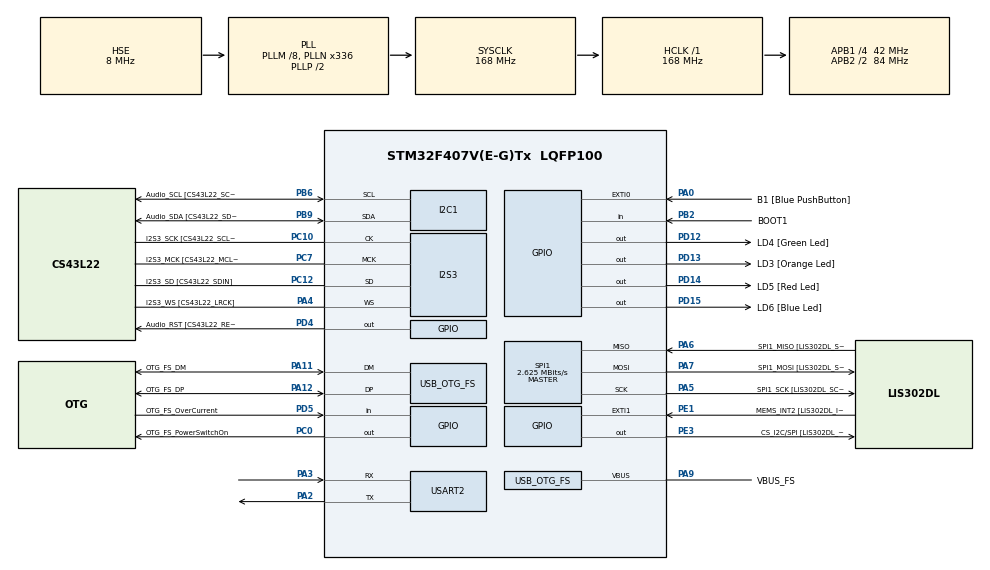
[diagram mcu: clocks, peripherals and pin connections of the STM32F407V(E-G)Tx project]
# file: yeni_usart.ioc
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I2S3.AudioFreq-Half_Duplex_Master=I2S_AUDIOFREQ_96K
I2S3.ErrorAudioFreq=-2.34 %
I2S3.ErrorAudioFreq-Half_Duplex_Master=0.8 %
I2S3.FullDuplexMode=I2S_FULLDUPLEXMODE_DISABLE
I2S3.Instance=SPI$Index
I2S3.RealAudioFreq=93.75 KHz
I2S3.RealAudioFreq-Half_Duplex_Master=96.774 KHz
I2S3.VirtualMode=I2S_MODE_MASTER
Mcu.Family=STM32F4
Mcu.Name=STM32F407V(E-G)Tx
Mcu.Package=LQFP100
NVIC.OTG_FS_IRQn=true\:0\:0\:false\:false\:true\:true\:true\:true
NVIC.PriorityGroup=NVIC_PRIORITYGROUP_0
NVIC.USART2_IRQn=true\:0\:0\:false\:false\:true\:true\:true\:true
PA0-WKUP.GPIO_Label=B1 [Blue PushButton]
PA0-WKUP.GPIO_ModeDefaultEXTI=GPIO_MODE_EVT_RISING
PA0-WKUP.GPIO_PuPd=GPIO_NOPULL
PA0-WKUP.Signal=GPXTI0
PA10.GPIO_Label=OTG_FS_ID
PA10.GPIO_Mode=GPIO_MODE_AF_PP
PA10.GPIO_PuPd=GPIO_NOPULL
PA10.GPIO_Speed=GPIO_SPEED_FREQ_LOW
PA10.Signal=USB_OTG_FS_ID
PA11.GPIO_Label=OTG_FS_DM
PA11.GPIO_Mode=GPIO_MODE_AF_PP
PA11.GPIO_PuPd=GPIO_NOPULL
PA11.GPIO_Speed=GPIO_SPEED_FREQ_LOW
PA11.Mode=Host_Only
PA11.Signal=USB_OTG_FS_DM
PA12.GPIO_Label=OTG_FS_DP
PA12.GPIO_Mode=GPIO_MODE_AF_PP
PA12.GPIO_PuPd=GPIO_NOPULL
PA12.GPIO_Speed=GPIO_SPEED_FREQ_LOW
PA12.Mode=Host_Only
PA12.Signal=USB_OTG_FS_DP
PA13.GPIO_Label=SWDIO
PA13.Mode=Serial_Wire
PA13.Signal=SYS_JTMS-SWDIO
PA14.GPIO_Label=SWCLK
PA14.Mode=Serial_Wire
PA14.Signal=SYS_JTCK-SWCLK
PA2.Mode=Asynchronous
PA2.Signal=USART2_TX
PA3.Mode=Asynchronous
PA3.Signal=USART2_RX
PA4.GPIO_Label=I2S3_WS [CS43L22_LRCK]
PA4.GPIO_Mode=GPIO_MODE_AF_PP
PA4.GPIO_PuPd=GPIO_NOPULL
PA4.GPIO_Speed=GPIO_SPEED_FREQ_LOW
PA4.Mode=Half_Duplex_Master
PA4.Signal=I2S3_WS
PA5.GPIO_Label=SPI1_SCK [LIS302DL_SCL/SPC]
PA5.GPIO_Mode=GPIO_MODE_AF_PP
PA5.GPIO_PuPd=GPIO_NOPULL
PA5.GPIO_Speed=GPIO_SPEED_FREQ_LOW
PA5.Mode=Full_Duplex_Master
PA5.Signal=SPI1_SCK
PA6.GPIO_Label=SPI1_MISO [LIS302DL_SDO]
PA6.GPIO_Mode=GPIO_MODE_AF_PP
PA6.GPIO_PuPd=GPIO_NOPULL
PA6.GPIO_Speed=GPIO_SPEED_FREQ_LOW
PA6.Mode=Full_Duplex_Master
PA6.Signal=SPI1_MISO
PA7.GPIO_Label=SPI1_MOSI [LIS302DL_SDA/SDI/SDO]
PA7.GPIO_Mode=GPIO_MODE_AF_PP
PA7.GPIO_PuPd=GPIO_NOPULL
PA7.GPIO_Speed=GPIO_SPEED_FREQ_LOW
PA7.Mode=Full_Duplex_Master
PA7.Signal=SPI1_MOSI
PA9.GPIO_Label=VBUS_FS
PA9.GPIO_Mode=GPIO_MODE_INPUT
PA9.GPIO_PuPd=GPIO_NOPULL
PA9.Mode=Activate_VBUS
PA9.Signal=USB_OTG_FS_VBUS
PB10.GPIO_Label=CLK_IN [MP45DT02_CLK]
PB10.GPIO_Mode=GPIO_MODE_AF_PP
PB10.GPIO_PuPd=GPIO_NOPULL
PB10.GPIO_Speed=GPIO_SPEED_FREQ_LOW
PB10.Signal=I2S2_CK
PB2.GPIO_Label=BOOT1
PB2.GPIO_Mode=GPIO_MODE_INPUT
PB2.GPIO_PuPd=GPIO_NOPULL
PB2.Signal=GPIO_Input
PB3.GPIO_Label=SWO
PB3.Signal=SYS_JTDO-SWO
PB6.GPIO_Label=Audio_SCL [CS43L22_SCL]
PB6.GPIO_Mode=GPIO_MODE_AF_OD
PB6.GPIO_Pu=GPIO_PULLUP
PB6.GPIO_PuPd=GPIO_NOPULL
PB6.GPIO_Speed=GPIO_SPEED_FREQ_LOW
PB6.Mode=I2C
PB6.Signal=I2C1_SCL
PB9.GPIO_Label=Audio_SDA [CS43L22_SDA]
PB9.GPIO_Mode=GPIO_MODE_AF_OD
PB9.GPIO_Pu=GPIO_PULLUP
PB9.GPIO_PuPd=GPIO_NOPULL
PB9.GPIO_Speed=GPIO_SPEED_FREQ_LOW
PB9.Mode=I2C
PB9.Signal=I2C1_SDA
PC0.GPIO_Label=OTG_FS_PowerSwitchOn
PC0.GPIO_PuPd=GPIO_NOPULL
PC0.GPIO_Speed=GPIO_SPEED_FREQ_LOW
PC0.PinState=GPIO_PIN_SET
PC0.Signal=GPIO_Output
PC10.GPIO_Label=I2S3_SCK [CS43L22_SCLK]
PC10.GPIO_Mode=GPIO_MODE_AF_PP
PC10.GPIO_PuPd=GPIO_NOPULL
PC10.GPIO_Speed=GPIO_SPEED_FREQ_LOW
PC10.Mode=Half_Duplex_Master
PC10.Signal=I2S3_CK
PC12.GPIO_Label=I2S3_SD [CS43L22_SDIN]
PC12.GPIO_Mode=GPIO_MODE_AF_PP
PC12.GPIO_PuPd=GPIO_NOPULL
PC12.GPIO_Speed=GPIO_SPEED_FREQ_LOW
PC12.Mode=Half_Duplex_Master
PC12.Signal=I2S3_SD
PC14-OSC32_IN.GPIO_Label=PC14-OSC32_IN
PC14-OSC32_IN.Mode=LSE-External-Oscillator
PC14-OSC32_IN.Signal=RCC_OSC32_IN
PC15-OSC32_OUT.GPIO_Label=PC15-OSC32_OUT
PC15-OSC32_OUT.Mode=LSE-External-Oscillator
PC15-OSC32_OUT.Signal=RCC_OSC32_OUT
PC3.GPIO_Label=PDM_OUT [MP45DT02_DOUT]
PC3.GPIO_Mode=GPIO_MODE_AF_PP
PC3.GPIO_PuPd=GPIO_NOPULL
PC3.GPIO_Speed=GPIO_SPEED_FREQ_LOW
PC3.Signal=I2S2_SD
PC7.GPIO_Label=I2S3_MCK [CS43L22_MCLK]
PC7.GPIO_Mode=GPIO_MODE_AF_PP
PC7.GPIO_PuPd=GPIO_NOPULL
PC7.GPIO_Speed=GPIO_SPEED_FREQ_LOW
PC7.Mode=Master_Clock_Activated
PC7.Signal=I2S3_MCK
PD12.GPIO_Label=LD4 [Green Led]
PD12.GPIO_PuPd=GPIO_NOPULL
PD12.GPIO_Speed=GPIO_SPEED_FREQ_LOW
PD12.Signal=GPIO_Output
PD13.GPIO_Label=LD3 [Orange Led]
PD13.GPIO_PuPd=GPIO_NOPULL
PD13.GPIO_Speed=GPIO_SPEED_FREQ_LOW
PD13.Signal=GPIO_Output
PD14.GPIO_Label=LD5 [Red Led]
PD14.GPIO_PuPd=GPIO_NOPULL
PD14.GPIO_Speed=GPIO_SPEED_FREQ_LOW
PD14.Signal=GPIO_Output
PD15.GPIO_Label=LD6 [Blue Led]
PD15.GPIO_PuPd=GPIO_NOPULL
PD15.GPIO_Speed=GPIO_SPEED_FREQ_LOW
PD15.Signal=GPIO_Output
PD4.GPIO_Label=Audio_RST [CS43L22_RESET]
PD4.GPIO_PuPd=GPIO_NOPULL
PD4.GPIO_Speed=GPIO_SPEED_FREQ_LOW
PD4.Signal=GPIO_Output
PD5.GPIO_Label=OTG_FS_OverCurrent
PD5.GPIO_Mode=GPIO_MODE_INPUT
PD5.GPIO_PuPd=GPIO_NOPULL
PD5.Signal=GPIO_Input
PE1.GPIO_Label=MEMS_INT2 [LIS302DL_INT2]
PE1.GPIO_ModeDefaultEXTI=GPIO_MODE_EVT_RISING
PE1.GPIO_PuPd=GPIO_NOPULL
PE1.Signal=GPXTI1
PE3.GPIO_Label=CS_I2C/SPI [LIS302DL_CS_I2C/SPI]
PE3.GPIO_PuPd=GPIO_NOPULL
PE3.GPIO_Speed=GPIO_SPEED_FREQ_LOW
PE3.Signal=GPIO_Output
PH0-OSC_IN.GPIO_Label=PH0-OSC_IN
PH0-OSC_IN.Mode=HSE-External-Oscillator
PH0-OSC_IN.Signal=RCC_OSC_IN
PH1-OSC_OUT.GPIO_Label=PH1-OSC_OUT
PH1-OSC_OUT.Mode=HSE-External-Oscillator
PH1-OSC_OUT.Signal=RCC_OSC_OUT
ProjectManager.HeapSize=0x200
ProjectManager.StackSize=0x400
ProjectManager.TargetToolchain=STM32CubeIDE
RCC.48MHZClocksFreq_Value=48000000
RCC.AHBFreq_Value=168000000
RCC.APB1CLKDivider=RCC_HCLK_DIV4
RCC.APB1Freq_Value=42000000
RCC.APB1TimFreq_Value=84000000
RCC.APB2CLKDivider=RCC_HCLK_DIV2
RCC.APB2Freq_Value=84000000
RCC.APB2TimFreq_Value=168000000
RCC.CortexFreq_Value=168000000
RCC.HCLKFreq_Value=168000000
RCC.HSE_VALUE=8000000
RCC.HSI_VALUE=16000000
RCC.PLLM=8
RCC.PLLN=336
RCC.PLLQ=7
RCC.SYSCLKFreq_VALUE=168000000
RCC.SYSCLKSource=RCC_SYSCLKSOURCE_PLLCLK
RCC.VCOOutputFreq_Value=336000000
SPI1.BaudRatePrescaler=SPI_BAUDRATEPRESCALER_32
SPI1.BaudRatePrescaler-Full_Duplex_Master=SPI_BAUDRATEPRESCALER_2
SPI1.CalculateBaudRate=2.625 MBits/s
SPI1.CalculateBaudRate-Full_Duplex_Master=42.0 MBits/s
SPI1.Direction=SPI_DIRECTION_2LINES
SPI1.Mode=SPI_MODE_MASTER
SPI1.Mode-Full_Duplex_Master=SPI_MODE_MASTER
SPI1.VirtualType=VM_MASTER
USART2.VirtualMode=VM_ASYNC
USB_HOST.BSP.number=1
USB_HOST.USBH_HandleTypeDef-CDC_FS=hUsbHostFS
USB_HOST.VirtualModeFS=Cdc
USB_HOST0.BSP.STBoard=false
USB_HOST0.BSP.api=Unknown
USB_HOST0.BSP.instance=PC0
USB_HOST0.BSP.ip=GPIO
USB_HOST0.BSP.mode=Output
USB_HOST0.BSP.name=Drive_VBUS_FS
USB_HOST0.BSP.solution=PC0
USB_OTG_FS.VirtualMode=Host_Only
USB_OTG_FS.phy_itface=HCD_PHY_EMBEDDED
VP_USB_HOST_VS_USB_HOST_CDC_FS.Mode=CDC_FS
board=STM32F407G-DISC1

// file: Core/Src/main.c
/* USER CODE BEGIN Header */
/**
  ******************************************************************************
  * @file           : main.c
  * @brief          : Main program body
  ******************************************************************************
  * @attention
  *
  * Copyright (c) 2026 STMicroelectronics.
  * All rights reserved.
  *
  * This software is licensed under terms that can be found in the LICENSE file
  * in the root directory of this software component.
  * If no LICENSE file comes with this software, it is provided AS-IS.
  *
  ******************************************************************************
  */
/* USER CODE END Header */
#include "main.h"
#include "usb_host.h"

/* USER CODE BEGIN Includes */
#include "stdio.h"
#include "string.h"
#include "math.h"
#include "stdlib.h"

#include "arm_math.h"
#include "arm_math_types.h"
#include "dsp/transform_functions.h"
/* USER CODE END Includes */

/* USER CODE BEGIN PD */
#define LIS302DL_CS_PORT GPIOE
#define LIS302DL_CS_PIN  GPIO_PIN_3

#define LIS3DSH_WHO_AM_I_ADDR  0x0F
#define LIS3DSH_CTRL_REG4      0x20

#define LIS3DSH_OUT_X_L        0x28
#define LIS3DSH_OUT_X_H        0x29
#define LIS3DSH_OUT_Y_L        0x2A
#define LIS3DSH_OUT_Y_H        0x2B
#define LIS3DSH_OUT_Z_L        0x2C
#define LIS3DSH_OUT_Z_H        0x2D

#define LIS_READ               0x80
#define LIS_WRITE              0x00
/* USER CODE END PD */

I2C_HandleTypeDef hi2c1;

I2S_HandleTypeDef hi2s3;

SPI_HandleTypeDef hspi1;

UART_HandleTypeDef huart2;

/* USER CODE BEGIN PV */

#define FFT_SIZE        512
#define SAMPLE_RATE_HZ  1600.0f
#define MAX_ANALYSIS_FREQ_HZ  (SAMPLE_RATE_HZ / 2.0f)
arm_rfft_fast_instance_f32 fftInstance;

float32_t fftInput[FFT_SIZE];
float32_t fftOutput[FFT_SIZE];
float32_t fftMagnitude[FFT_SIZE / 2];

uint16_t fftIndex = 0;

char uartBuffer[200];

uint8_t uartRxByte;
char uartRxBuffer[100];
uint8_t uartRxIndex = 0;

/*
 * Varsayılan rulman bilgileri.
 * Qt arayüzünden CFG komutu gelince bu değerler güncellenecek.
 */
float32_t rpmValue = 60.0f;
float32_t ballCount = 8.0f;
float32_t ballDiameter = 5.0f;
float32_t pitchDiameter = 25.0f;
float32_t contactAngleDeg = 0.0f;

float32_t bpfoFreq = 0.0f;
float32_t bpfiFreq = 0.0f;
float32_t bsfFreq  = 0.0f;
float32_t ftfFreq  = 0.0f;

/* USER CODE END PV */

void SystemClock_Config(void);
static void MX_GPIO_Init(void);
static void MX_I2C1_Init(void);
static void MX_I2S3_Init(void);
static void MX_SPI1_Init(void);
static void MX_USART2_UART_Init(void);
void MX_USB_HOST_Process(void);

/* USER CODE BEGIN 0 */
uint8_t LIS_ReadReg(uint8_t reg)
{
    uint8_t txData[2];
    uint8_t rxData[2];

    txData[0] = reg | LIS_READ;
    txData[1] = 0x00;

    HAL_GPIO_WritePin(LIS302DL_CS_PORT, LIS302DL_CS_PIN, GPIO_PIN_RESET);
    HAL_SPI_TransmitReceive(&hspi1, txData, rxData, 2, 100);
    HAL_GPIO_WritePin(LIS302DL_CS_PORT, LIS302DL_CS_PIN, GPIO_PIN_SET);

    return rxData[1];
}

void LIS_WriteReg(uint8_t reg, uint8_t value)
{
    uint8_t txData[2];

    txData[0] = reg | LIS_WRITE;
    txData[1] = value;

    HAL_GPIO_WritePin(LIS302DL_CS_PORT, LIS302DL_CS_PIN, GPIO_PIN_RESET);
    HAL_SPI_Transmit(&hspi1, txData, 2, 100);
    HAL_GPIO_WritePin(LIS302DL_CS_PORT, LIS302DL_CS_PIN, GPIO_PIN_SET);
}

void LIS_Init(void)
{
    /*
      0x97 = 1600 Hz ODR
             X, Y, Z eksenleri aktif
    */
    LIS_WriteReg(LIS3DSH_CTRL_REG4, 0x97);
    HAL_Delay(10);
}

int16_t LIS_ReadAxis(uint8_t lowReg, uint8_t highReg)
{
    uint8_t low;
    uint8_t high;
    int16_t value;

    low = LIS_ReadReg(lowReg);
    high = LIS_ReadReg(highReg);

    value = (int16_t)((high << 8) | low);

    return value;
}

void LIS_ReadXYZ(int16_t *x, int16_t *y, int16_t *z)
{
    *x = LIS_ReadAxis(LIS3DSH_OUT_X_L, LIS3DSH_OUT_X_H);
    *y = LIS_ReadAxis(LIS3DSH_OUT_Y_L, LIS3DSH_OUT_Y_H);
    *z = LIS_ReadAxis(LIS3DSH_OUT_Z_L, LIS3DSH_OUT_Z_H);
}

//FFT FONKSIyonlari

void CalculateBearingFaultFrequencies(void)
{
    float32_t fr = rpmValue / 60.0f;
    float32_t angleRad = contactAngleDeg * (3.14159265f / 180.0f);
    float32_t ratio = (ballDiameter / pitchDiameter) * cosf(angleRad);

    ftfFreq  = 0.5f * fr * (1.0f - ratio);
    bpfoFreq = (ballCount / 2.0f) * fr * (1.0f - ratio);
    bpfiFreq = (ballCount / 2.0f) * fr * (1.0f + ratio);
    bsfFreq  = (pitchDiameter / (2.0f * ballDiameter)) * fr * (1.0f - ratio * ratio);
}

float32_t GetMagnitudeNearFrequency(float32_t targetFreq, float32_t bandwidthHz)
{
    if (targetFreq <= 0.0f || targetFreq > MAX_ANALYSIS_FREQ_HZ)
    {
        return -1.0f;
    }

    float32_t maxAmp = 0.0f;

    for (uint16_t k = 1; k < FFT_SIZE / 2; k+=2)
    {
        float32_t freq = ((float32_t)k * SAMPLE_RATE_HZ) / (float32_t)FFT_SIZE;

        if (fabsf(freq - targetFreq) <= bandwidthHz)
        {
            if (fftMagnitude[k] > maxAmp)
            {
                maxAmp = fftMagnitude[k];
            }
        }
    }

    return maxAmp;
}

void ProcessFFTAndSendUART(void)
{
    float32_t mean = 0.0f;
    float32_t rms = 0.0f;

    for (uint16_t i = 0; i < FFT_SIZE; i++)
    {
        mean += fftInput[i];
    }

    mean /= (float32_t)FFT_SIZE;

    for (uint16_t i = 0; i < FFT_SIZE; i++)
    {
        fftInput[i] = fftInput[i] - mean;
        rms += fftInput[i] * fftInput[i];
    }

    rms = sqrtf(rms / (float32_t)FFT_SIZE);

    arm_rfft_fast_f32(&fftInstance, fftInput, fftOutput, 0);

    fftMagnitude[0] = 0.0f;

    for (uint16_t k = 1; k < FFT_SIZE / 2; k++)
    {
        float32_t real = fftOutput[2 * k];
        float32_t imag = fftOutput[2 * k + 1];

        fftMagnitude[k] = sqrtf(real * real + imag * imag) * 2.0f / (float32_t)FFT_SIZE;
    }

    float32_t peakAmp = 0.0f;
    uint16_t peakIndex = 1;

    for (uint16_t k = 1; k < FFT_SIZE / 2; k++)
    {
        if (fftMagnitude[k] > peakAmp)
        {
            peakAmp = fftMagnitude[k];
            peakIndex = k;
        }
    }

    float32_t peakFreq = ((float32_t)peakIndex * SAMPLE_RATE_HZ) / (float32_t)FFT_SIZE;

    float32_t bandwidthHz = (SAMPLE_RATE_HZ / (float32_t)FFT_SIZE) * 3.0f;

    float32_t bpfoAmp = GetMagnitudeNearFrequency(bpfoFreq, bandwidthHz);
    float32_t bpfiAmp = GetMagnitudeNearFrequency(bpfiFreq, bandwidthHz);
    float32_t bsfAmp  = GetMagnitudeNearFrequency(bsfFreq,  bandwidthHz);
    float32_t ftfAmp  = GetMagnitudeNearFrequency(ftfFreq,  bandwidthHz);

    snprintf(uartBuffer,
             sizeof(uartBuffer),
             "FFT,%.2f,%.2f,%.2f,%.2f,%.2f,%.2f,%.2f\r\n",
             peakFreq,
             peakAmp,
             rms,
             bpfoAmp,
             bpfiAmp,
             bsfAmp,
             ftfAmp);

    HAL_UART_Transmit(&huart2, (uint8_t*)uartBuffer, strlen(uartBuffer), 100);

    for (uint16_t k = 1; k < FFT_SIZE / 2; k++)
    {
        float32_t freq = ((float32_t)k * SAMPLE_RATE_HZ) / (float32_t)FFT_SIZE;

        snprintf(uartBuffer,
                 sizeof(uartBuffer),
                 "SPEC,%.2f,%.2f\r\n",
                 freq,
                 fftMagnitude[k]);

        HAL_UART_Transmit(&huart2, (uint8_t*)uartBuffer, strlen(uartBuffer), 100);
    }
}

void ProcessUARTCommand(char *cmd)
{
    if (strncmp(cmd, "CFG,", 4) == 0)
    {
        char tempBuffer[100];
        char *token;

        float32_t values[5];
        uint8_t valueIndex = 0;

        strncpy(tempBuffer, cmd, sizeof(tempBuffer) - 1);
        tempBuffer[sizeof(tempBuffer) - 1] = '\0';

        token = strtok(tempBuffer, ",");

        while ((token = strtok(NULL, ",")) != NULL && valueIndex < 5)
        {
            values[valueIndex] = (float32_t)atof(token);
            valueIndex++;
        }

        if (valueIndex == 5)
        {
            rpmValue = values[0];
            ballCount = values[1];
            ballDiameter = values[2];
            pitchDiameter = values[3];
            contactAngleDeg = values[4];

            CalculateBearingFaultFrequencies();

            snprintf(uartBuffer,
                     sizeof(uartBuffer),
                     "CFG_OK,RPM=%.2f,N=%.2f,d=%.2f,D=%.2f,A=%.2f\r\n",
                     rpmValue,
                     ballCount,
                     ballDiameter,
                     pitchDiameter,
                     contactAngleDeg);

            HAL_UART_Transmit(&huart2, (uint8_t*)uartBuffer, strlen(uartBuffer), 100);

            snprintf(uartBuffer,
                     sizeof(uartBuffer),
                     "FAULT_FREQ,BPFO=%.2f,BPFI=%.2f,BSF=%.2f,FTF=%.2f\r\n",
                     bpfoFreq,
                     bpfiFreq,
                     bsfFreq,
                     ftfFreq);

            HAL_UART_Transmit(&huart2, (uint8_t*)uartBuffer, strlen(uartBuffer), 100);
        }
        else
        {
            snprintf(uartBuffer,
                     sizeof(uartBuffer),
                     "ERROR,CFG_PARSE\r\n");

            HAL_UART_Transmit(&huart2, (uint8_t*)uartBuffer, strlen(uartBuffer), 100);
        }
    }
}

void HAL_UART_RxCpltCallback(UART_HandleTypeDef *huart)
{
    if (huart->Instance == USART2)
    {
        if (uartRxByte == '\n' || uartRxByte == '\r')
        {
            uartRxBuffer[uartRxIndex] = '\0';

            if (uartRxIndex > 0)
            {
                ProcessUARTCommand(uartRxBuffer);
            }

            uartRxIndex = 0;
        }
        else
        {
            if (uartRxIndex < sizeof(uartRxBuffer) - 1)
            {
                uartRxBuffer[uartRxIndex++] = uartRxByte;
            }
            else
            {
                uartRxIndex = 0;
            }
        }

        HAL_UART_Receive_IT(&huart2, &uartRxByte, 1);
    }
}

/* USER CODE END 0 */

int main(void)
{

  /* MCU Configuration--------------------------------------------------------*/

  /* Reset of all peripherals, Initializes the Flash interface and the Systick. */
  HAL_Init();

  /* Configure the system clock */
  SystemClock_Config();

  /* Initialize all configured peripherals */
  MX_GPIO_Init();
  MX_I2C1_Init();
  MX_I2S3_Init();
  MX_SPI1_Init();
  MX_USART2_UART_Init();
  MX_USB_HOST_Init();

  /* USER CODE BEGIN 2 */

  HAL_GPIO_WritePin(LIS302DL_CS_PORT, LIS302DL_CS_PIN, GPIO_PIN_SET);

  uint8_t who_am_i;
  int16_t x, y, z;

  who_am_i = LIS_ReadReg(LIS3DSH_WHO_AM_I_ADDR);

  snprintf(uartBuffer, sizeof(uartBuffer), "WHO_AM_I: 0x%02X\r\n", who_am_i);
  HAL_UART_Transmit(&huart2, (uint8_t*)uartBuffer, strlen(uartBuffer), 100);

  LIS_Init();

  arm_status fftStatus = arm_rfft_fast_init_f32(&fftInstance, FFT_SIZE);

  if (fftStatus != ARM_MATH_SUCCESS)
  {
      Error_Handler();
  }

  CalculateBearingFaultFrequencies();

  snprintf(uartBuffer,
           sizeof(uartBuffer),
           "FAULT_FREQ,BPFO=%.2f,BPFI=%.2f,BSF=%.2f,FTF=%.2f\r\n",
           bpfoFreq,
           bpfiFreq,
           bsfFreq,
           ftfFreq);

  HAL_UART_Transmit(&huart2, (uint8_t*)uartBuffer, strlen(uartBuffer), 100);

  HAL_UART_Receive_IT(&huart2, &uartRxByte, 1);

  /* USER CODE END 2 */

  /* Infinite loop */
  /* USER CODE BEGIN WHILE */

  while (1)
  {
	  LIS_ReadXYZ(&x, &y, &z);

	    float32_t vibration = sqrtf((float32_t)x * x +
	                                (float32_t)y * y +
	                                (float32_t)z * z);

	    fftInput[fftIndex] = vibration;
	    fftIndex++;

	    snprintf(uartBuffer,
	             sizeof(uartBuffer),
	             "RAW,%d,%d,%d\r\n",
	             x,
	             y,
	             z);

	    HAL_UART_Transmit(&huart2, (uint8_t*)uartBuffer, strlen(uartBuffer), 100);

	    if (fftIndex >= FFT_SIZE)
	    {
	        fftIndex = 0;
	        ProcessFFTAndSendUART();
	    }

	    HAL_GPIO_TogglePin(GPIOD, GPIO_PIN_12);
	    HAL_Delay(10);

	    /* USER CODE END WHILE */
	    MX_USB_HOST_Process();

  }
}

void SystemClock_Config(void)
{
  RCC_OscInitTypeDef RCC_OscInitStruct = {0};
  RCC_ClkInitTypeDef RCC_ClkInitStruct = {0};

  /** Configure the main internal regulator output voltage
  */
  __HAL_RCC_PWR_CLK_ENABLE();
  __HAL_PWR_VOLTAGESCALING_CONFIG(PWR_REGULATOR_VOLTAGE_SCALE1);

  /** Initializes the RCC Oscillators according to the specified parameters
  * in the RCC_OscInitTypeDef structure.
  */
  RCC_OscInitStruct.OscillatorType = RCC_OSCILLATORTYPE_HSE;
  RCC_OscInitStruct.HSEState = RCC_HSE_ON;
  RCC_OscInitStruct.PLL.PLLState = RCC_PLL_ON;
  RCC_OscInitStruct.PLL.PLLSource = RCC_PLLSOURCE_HSE;
  RCC_OscInitStruct.PLL.PLLM = 8;
  RCC_OscInitStruct.PLL.PLLN = 336;
  RCC_OscInitStruct.PLL.PLLP = RCC_PLLP_DIV2;
  RCC_OscInitStruct.PLL.PLLQ = 7;
  if (HAL_RCC_OscConfig(&RCC_OscInitStruct) != HAL_OK)
  {
    Error_Handler();
  }

  /** Initializes the CPU, AHB and APB buses clocks
  */
  RCC_ClkInitStruct.ClockType = RCC_CLOCKTYPE_HCLK|RCC_CLOCKTYPE_SYSCLK
                              |RCC_CLOCKTYPE_PCLK1|RCC_CLOCKTYPE_PCLK2;
  RCC_ClkInitStruct.SYSCLKSource = RCC_SYSCLKSOURCE_PLLCLK;
  RCC_ClkInitStruct.AHBCLKDivider = RCC_SYSCLK_DIV1;
  RCC_ClkInitStruct.APB1CLKDivider = RCC_HCLK_DIV4;
  RCC_ClkInitStruct.APB2CLKDivider = RCC_HCLK_DIV2;

  if (HAL_RCC_ClockConfig(&RCC_ClkInitStruct, FLASH_LATENCY_5) != HAL_OK)
  {
    Error_Handler();
  }
}

static void MX_I2C1_Init(void)
{

  hi2c1.Instance = I2C1;
  hi2c1.Init.ClockSpeed = 100000;
  hi2c1.Init.DutyCycle = I2C_DUTYCYCLE_2;
  hi2c1.Init.OwnAddress1 = 0;
  hi2c1.Init.AddressingMode = I2C_ADDRESSINGMODE_7BIT;
  hi2c1.Init.DualAddressMode = I2C_DUALADDRESS_DISABLE;
  hi2c1.Init.OwnAddress2 = 0;
  hi2c1.Init.GeneralCallMode = I2C_GENERALCALL_DISABLE;
  hi2c1.Init.NoStretchMode = I2C_NOSTRETCH_DISABLE;
  if (HAL_I2C_Init(&hi2c1) != HAL_OK)
  {
    Error_Handler();
  }

}

static void MX_I2S3_Init(void)
{

  hi2s3.Instance = SPI3;
  hi2s3.Init.Mode = I2S_MODE_MASTER_TX;
  hi2s3.Init.Standard = I2S_STANDARD_PHILIPS;
  hi2s3.Init.DataFormat = I2S_DATAFORMAT_16B;
  hi2s3.Init.MCLKOutput = I2S_MCLKOUTPUT_ENABLE;
  hi2s3.Init.AudioFreq = I2S_AUDIOFREQ_96K;
  hi2s3.Init.CPOL = I2S_CPOL_LOW;
  hi2s3.Init.ClockSource = I2S_CLOCK_PLL;
  hi2s3.Init.FullDuplexMode = I2S_FULLDUPLEXMODE_DISABLE;
  if (HAL_I2S_Init(&hi2s3) != HAL_OK)
  {
    Error_Handler();
  }

}

static void MX_SPI1_Init(void)
{

  /* SPI1 parameter configuration*/
  hspi1.Instance = SPI1;
  hspi1.Init.Mode = SPI_MODE_MASTER;
  hspi1.Init.Direction = SPI_DIRECTION_2LINES;
  hspi1.Init.DataSize = SPI_DATASIZE_8BIT;
  hspi1.Init.CLKPolarity = SPI_POLARITY_LOW;
  hspi1.Init.CLKPhase = SPI_PHASE_1EDGE;
  hspi1.Init.NSS = SPI_NSS_SOFT;
  hspi1.Init.BaudRatePrescaler = SPI_BAUDRATEPRESCALER_32;
  hspi1.Init.FirstBit = SPI_FIRSTBIT_MSB;
  hspi1.Init.TIMode = SPI_TIMODE_DISABLE;
  hspi1.Init.CRCCalculation = SPI_CRCCALCULATION_DISABLE;
  hspi1.Init.CRCPolynomial = 10;
  if (HAL_SPI_Init(&hspi1) != HAL_OK)
  {
    Error_Handler();
  }

}

static void MX_USART2_UART_Init(void)
{

  huart2.Instance = USART2;
  huart2.Init.BaudRate = 921600;
  huart2.Init.WordLength = UART_WORDLENGTH_8B;
  huart2.Init.StopBits = UART_STOPBITS_1;
  huart2.Init.Parity = UART_PARITY_NONE;
  huart2.Init.Mode = UART_MODE_TX_RX;
  huart2.Init.HwFlowCtl = UART_HWCONTROL_NONE;
  huart2.Init.OverSampling = UART_OVERSAMPLING_16;
  if (HAL_UART_Init(&huart2) != HAL_OK)
  {
    Error_Handler();
  }

}

static void MX_GPIO_Init(void)
{
  GPIO_InitTypeDef GPIO_InitStruct = {0};

  /* GPIO Ports Clock Enable */
  __HAL_RCC_GPIOE_CLK_ENABLE();
  __HAL_RCC_GPIOC_CLK_ENABLE();
  __HAL_RCC_GPIOH_CLK_ENABLE();
  __HAL_RCC_GPIOA_CLK_ENABLE();
  __HAL_RCC_GPIOB_CLK_ENABLE();
  __HAL_RCC_GPIOD_CLK_ENABLE();

  /*Configure GPIO pin Output Level */
  HAL_GPIO_WritePin(CS_I2C_SPI_GPIO_Port, CS_I2C_SPI_Pin, GPIO_PIN_RESET);

  /*Configure GPIO pin Output Level */
  HAL_GPIO_WritePin(OTG_FS_PowerSwitchOn_GPIO_Port, OTG_FS_PowerSwitchOn_Pin, GPIO_PIN_SET);

  /*Configure GPIO pin Output Level */
  HAL_GPIO_WritePin(GPIOD, LD4_Pin|LD3_Pin|LD5_Pin|LD6_Pin
                          |Audio_RST_Pin, GPIO_PIN_RESET);

  /*Configure GPIO pin : CS_I2C_SPI_Pin */
  GPIO_InitStruct.Pin = CS_I2C_SPI_Pin;
  GPIO_InitStruct.Mode = GPIO_MODE_OUTPUT_PP;
  GPIO_InitStruct.Pull = GPIO_NOPULL;
  GPIO_InitStruct.Speed = GPIO_SPEED_FREQ_LOW;
  HAL_GPIO_Init(CS_I2C_SPI_GPIO_Port, &GPIO_InitStruct);

  /*Configure GPIO pin : OTG_FS_PowerSwitchOn_Pin */
  GPIO_InitStruct.Pin = OTG_FS_PowerSwitchOn_Pin;
  GPIO_InitStruct.Mode = GPIO_MODE_OUTPUT_PP;
  GPIO_InitStruct.Pull = GPIO_NOPULL;
  GPIO_InitStruct.Speed = GPIO_SPEED_FREQ_LOW;
  HAL_GPIO_Init(OTG_FS_PowerSwitchOn_GPIO_Port, &GPIO_InitStruct);

  /*Configure GPIO pin : PDM_OUT_Pin */
  GPIO_InitStruct.Pin = PDM_OUT_Pin;
  GPIO_InitStruct.Mode = GPIO_MODE_AF_PP;
  GPIO_InitStruct.Pull = GPIO_NOPULL;
  GPIO_InitStruct.Speed = GPIO_SPEED_FREQ_LOW;
  GPIO_InitStruct.Alternate = GPIO_AF5_SPI2;
  HAL_GPIO_Init(PDM_OUT_GPIO_Port, &GPIO_InitStruct);

  /*Configure GPIO pin : B1_Pin */
  GPIO_InitStruct.Pin = B1_Pin;
  GPIO_InitStruct.Mode = GPIO_MODE_EVT_RISING;
  GPIO_InitStruct.Pull = GPIO_NOPULL;
  HAL_GPIO_Init(B1_GPIO_Port, &GPIO_InitStruct);

  /*Configure GPIO pin : BOOT1_Pin */
  GPIO_InitStruct.Pin = BOOT1_Pin;
  GPIO_InitStruct.Mode = GPIO_MODE_INPUT;
  GPIO_InitStruct.Pull = GPIO_NOPULL;
  HAL_GPIO_Init(BOOT1_GPIO_Port, &GPIO_InitStruct);

  /*Configure GPIO pin : CLK_IN_Pin */
  GPIO_InitStruct.Pin = CLK_IN_Pin;
  GPIO_InitStruct.Mode = GPIO_MODE_AF_PP;
  GPIO_InitStruct.Pull = GPIO_NOPULL;
  GPIO_InitStruct.Speed = GPIO_SPEED_FREQ_LOW;
  GPIO_InitStruct.Alternate = GPIO_AF5_SPI2;
  HAL_GPIO_Init(CLK_IN_GPIO_Port, &GPIO_InitStruct);

  /*Configure GPIO pins : LD4_Pin LD3_Pin LD5_Pin LD6_Pin
                           Audio_RST_Pin */
  GPIO_InitStruct.Pin = LD4_Pin|LD3_Pin|LD5_Pin|LD6_Pin
                          |Audio_RST_Pin;
  GPIO_InitStruct.Mode = GPIO_MODE_OUTPUT_PP;
  GPIO_InitStruct.Pull = GPIO_NOPULL;
  GPIO_InitStruct.Speed = GPIO_SPEED_FREQ_LOW;
  HAL_GPIO_Init(GPIOD, &GPIO_InitStruct);

  /*Configure GPIO pin : OTG_FS_OverCurrent_Pin */
  GPIO_InitStruct.Pin = OTG_FS_OverCurrent_Pin;
  GPIO_InitStruct.Mode = GPIO_MODE_INPUT;
  GPIO_InitStruct.Pull = GPIO_NOPULL;
  HAL_GPIO_Init(OTG_FS_OverCurrent_GPIO_Port, &GPIO_InitStruct);

  /*Configure GPIO pin : MEMS_INT2_Pin */
  GPIO_InitStruct.Pin = MEMS_INT2_Pin;
  GPIO_InitStruct.Mode = GPIO_MODE_EVT_RISING;
  GPIO_InitStruct.Pull = GPIO_NOPULL;
  HAL_GPIO_Init(MEMS_INT2_GPIO_Port, &GPIO_InitStruct);

}

void Error_Handler(void)
{
  __disable_irq();
  while (1)
  {
  }
}
